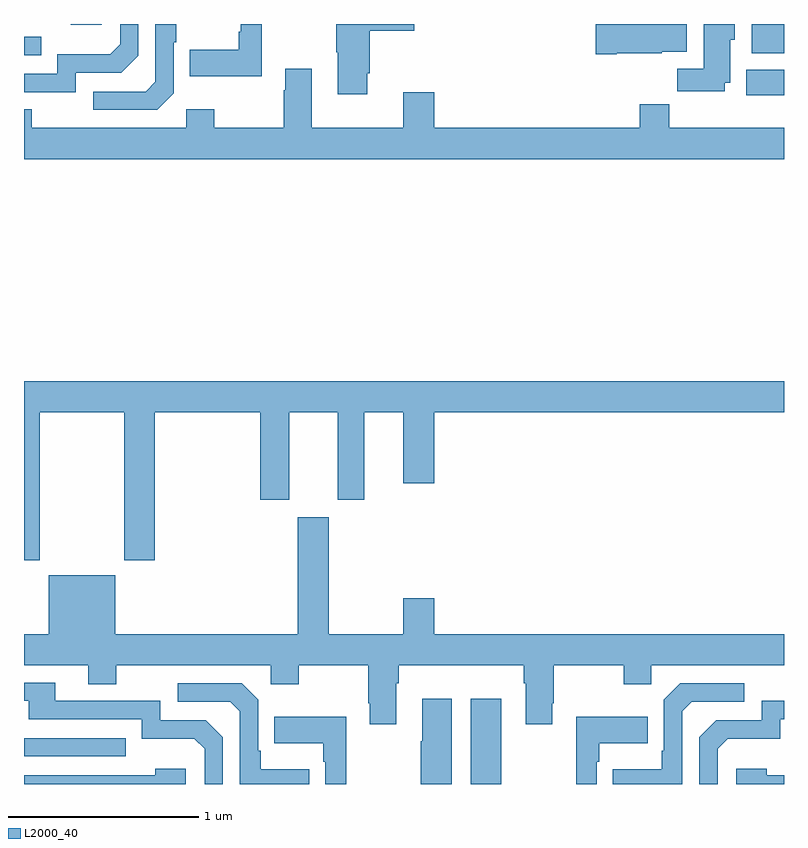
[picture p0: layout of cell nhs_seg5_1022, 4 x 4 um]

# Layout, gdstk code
import gdstk
lib = gdstk.Library(unit=1e-6, precision=1e-09)
def R(c, l, rs):  # rectangles x0, y0, x1, y1
    for r in rs: c.add(gdstk.rectangle(r[:2], r[2:], *l))
def P(c, l, *ps):  # polygons
    for p in ps: c.add(gdstk.Polygon(p, *l))
L2000_40 = (2000, 40)

nhs_seg5_1022 = lib.new_cell('nhs_seg5_1022')
R(nhs_seg5_1022, L2000_40, [(177.35,858.799,177.511,859.249), (175,858.945,175.535,859.041), (178.802,862.424,179,862.558), (175,862.635,175.091,862.731), (178.829,862.646,179,862.799), (175.247,862.796,175.408,862.799)])
P(nhs_seg5_1022, L2000_40, [(176.251,862.799),(176.142,862.799),(176.142,862.759),(176.13,862.759),(176.13,862.663),(175.873,862.663),(175.873,862.523),(176.251,862.523)],
  [(175.272,862.542),(175.512,862.542),(175.602,862.632),(175.602,862.799),(175.506,862.799),(175.506,862.692),(175.453,862.639),(175.176,862.639),(175.176,862.536),(175,862.536),(175,862.44),(175.272,862.44)],
  [(178.687,862.49),(178.717,862.49),(178.717,862.716),(178.741,862.716),(178.741,862.799),(178.577,862.799),(178.577,862.564),(178.438,862.564),(178.438,862.446),(178.687,862.446)],
  [(178.12,862.646),(178.356,862.646),(178.356,862.652),(178.489,862.652),(178.489,862.799),(178.008,862.799),(178.008,862.639),(178.12,862.639)],
  [(176.806,862.54),(176.819,862.54),(176.819,862.763),(177.055,862.763),(177.055,862.799),(176.644,862.799),(176.644,862.651),(176.651,862.651),(176.651,862.428),(176.806,862.428)],
  [(175.788,862.434),(175.788,862.703),(175.801,862.703),(175.801,862.799),(175.692,862.799),(175.692,862.494),(175.641,862.443),(175.365,862.443),(175.365,862.347),(175.701,862.347)],
  [(179,862.252),(178.397,862.252),(178.397,862.376),(178.241,862.376),(178.241,862.252),(177.16,862.252),(177.16,862.441),(176.996,862.441),(176.996,862.252),(176.515,862.252),(176.515,862.564),(176.375,862.564),(176.375,862.451),(176.368,862.451),(176.368,862.252),(176.001,862.252),(176.001,862.351),(175.854,862.351),(175.854,862.252),(175.041,862.252),(175.041,862.351),(175,862.351),(175,862.088),(179,862.088)],
  [(175.083,860.756),(175.528,860.756),(175.528,859.977),(175.688,859.977),(175.688,860.756),(176.243,860.756),(176.243,860.295),(176.395,860.295),(176.395,860.756),(176.651,860.756),(176.651,860.295),(176.791,860.295),(176.791,860.756),(176.996,860.756),(176.996,860.382),(177.16,860.382),(177.16,860.756),(179,860.756),(179,860.92),(175,860.92),(175,859.977),(175.083,859.977)],
  [(176.959,859.328),(176.972,859.328),(176.972,859.424),(177.629,859.424),(177.629,859.328),(177.641,859.328),(177.641,859.113),(177.781,859.113),(177.781,859.225),(177.789,859.225),(177.789,859.424),(178.156,859.424),(178.156,859.325),(178.302,859.325),(178.302,859.424),(179,859.424),(179,859.588),(177.16,859.588),(177.16,859.777),(176.996,859.777),(176.996,859.588),(176.605,859.588),(176.605,860.203),(176.441,860.203),(176.441,859.588),(175.48,859.588),(175.48,859.897),(175.13,859.897),(175.13,859.588),(175,859.588),(175,859.424),(175.337,859.424),(175.337,859.325),(175.485,859.325),(175.485,859.424),(176.298,859.424),(176.298,859.325),(176.445,859.325),(176.445,859.424),(176.812,859.424),(176.812,859.225),(176.819,859.225),(176.819,859.113),(176.959,859.113)],
  [(176.046,859.044),(175.956,859.134),(175.716,859.134),(175.716,859.236),(175.165,859.236),(175.165,859.332),(175,859.332),(175,859.236),(175.025,859.236),(175.025,859.14),(175.62,859.14),(175.62,859.037),(175.897,859.037),(175.95,858.984),(175.95,858.799),(176.046,858.799)],
  [(178.464,859.182),(178.515,859.233),(178.792,859.233),(178.792,859.329),(178.455,859.329),(178.368,859.242),(178.368,858.973),(178.356,858.973),(178.356,858.877),(178.099,858.877),(178.099,858.799),(178.464,858.799)],
  [(176.501,858.877),(176.245,858.877),(176.245,858.973),(176.232,858.973),(176.232,859.242),(176.145,859.329),(175.809,859.329),(175.809,859.233),(176.085,859.233),(176.136,859.182),(176.136,858.799),(176.501,858.799)],
  [(177.25,859.249),(177.095,859.249),(177.095,859.025),(177.088,859.025),(177.088,858.799),(177.25,858.799)],
  [(178.65,858.984),(178.703,859.037),(178.98,859.037),(178.98,859.14),(179,859.14),(179,859.236),(178.884,859.236),(178.884,859.134),(178.644,859.134),(178.554,859.044),(178.554,858.799),(178.65,858.799)],
  [(178.014,858.917),(178.027,858.917),(178.027,859.013),(178.283,859.013),(178.283,859.153),(177.906,859.153),(177.906,858.799),(178.014,858.799)],
  [(176.695,859.153),(176.317,859.153),(176.317,859.013),(176.574,859.013),(176.574,858.917),(176.586,858.917),(176.586,858.799),(176.695,858.799)],
  [(179,858.846),(178.91,858.846),(178.91,858.88),(178.749,858.88),(178.749,858.799),(179,858.799)],
  [(175.852,858.88),(175.691,858.88),(175.691,858.846),(175,858.846),(175,858.799),(175.852,858.799)])

lib.write_gds('nhs_seg5_1022.gds')
